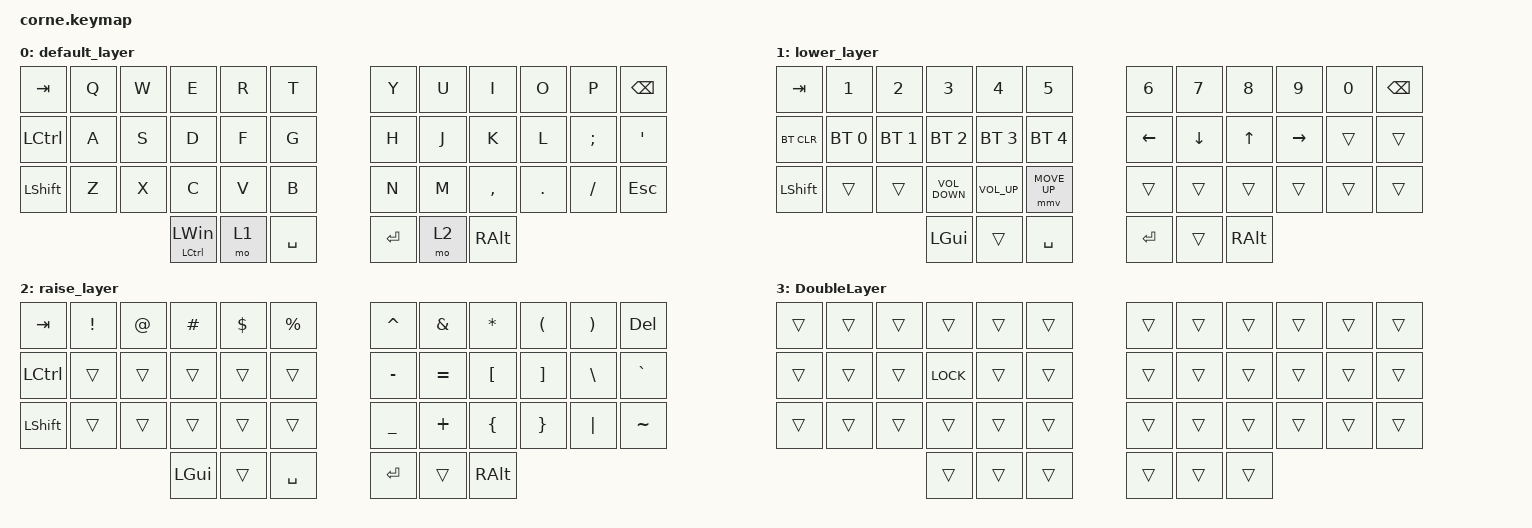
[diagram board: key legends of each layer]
/*
 * Copyright (c) 2020 The ZMK Contributors
 *
 * SPDX-License-Identifier: MIT
 */

#include <behaviors.dtsi>
#include <dt-bindings/zmk/bt.h>
#include <dt-bindings/zmk/keys.h>

/ {
    behaviors {
        cmdToCTRL: cmdToCTRL {
            compatible = "zmk,behavior-hold-tap";
            label = "CMDTOCTRL";
            #binding-cells = <2>;
            hold-trigger-key-positions = <36>;
            bindings = <&kp>, <&kp>;

            tapping-term-ms = <300>;
            flavor = "tap-preferred";
        };
    };

    keymap {
        compatible = "zmk,keymap";

        default_layer {
            // -----------------------------------------------------------------------------------------
            // |  TAB |  Q  |  W  |  E  |  R  |  T  |   |  Y  |  U   |  I  |  O  |  P  | BKSP |
            // | CTRL |  A  |  S  |  D  |  F  |  G  |   |  H  |  J   |  K  |  L  |  ;  |  '   |
            // | SHFT |  Z  |  X  |  C  |  V  |  B  |   |  N  |  M   |  ,  |  .  |  /  | ESC  |
            //                    | GUI | LWR | SPC |   | ENT | RSE  | ALT |

            bindings = <
&kp TAB    &kp Q  &kp W  &kp E                      &kp R  &kp T        &kp Y    &kp U  &kp I      &kp O    &kp P     &kp BSPC
&kp LCTRL  &kp A  &kp S  &kp D                      &kp F  &kp G        &kp H    &kp J  &kp K      &kp L    &kp SEMI  &kp SQT
&kp LSHFT  &kp Z  &kp X  &kp C                      &kp V  &kp B        &kp N    &kp M  &kp COMMA  &kp DOT  &kp FSLH  &kp ESC
                         &cmdToCTRL LCTRL LEFT_WIN  &mo 1  &kp SPACE    &kp RET  &mo 2  &kp RALT
            >;
        };

        lower_layer {
            // -----------------------------------------------------------------------------------------
            // |  TAB |  1  |  2  |  3  |  4  |  5  |   |  6  |  7  |  8  |  9  |  0  | BKSP |
            // | BTCLR| BT1 | BT2 | BT3 | BT4 | BT5 |   | LFT | DWN |  UP | RGT |     |      |
            // | SHFT |     |     |     |     |     |   |     |     |     |     |     |      |
            //                    | GUI |     | SPC |   | ENT |     | ALT |

            bindings = <
&kp TAB     &kp N1        &kp N2        &kp N3             &kp N4           &kp N5          &kp N6    &kp N7    &kp N8    &kp N9     &kp N0  &kp BSPC
&bt BT_CLR  &bt BT_SEL 0  &bt BT_SEL 1  &bt BT_SEL 2       &bt BT_SEL 3     &bt BT_SEL 4    &kp LEFT  &kp DOWN  &kp UP    &kp RIGHT  &trans  &trans
&kp LSHFT   &trans        &trans        &kp C_VOLUME_DOWN  &kp C_VOLUME_UP  &mmv MOVE_UP    &trans    &trans    &trans    &trans     &trans  &trans
                                        &kp LGUI           &trans           &kp SPACE       &kp RET   &trans    &kp RALT
            >;
        };

        raise_layer {
            // -----------------------------------------------------------------------------------------
            // |  TAB |  !  |  @  |  #  |  $  |  %  |   |  ^  |  &  |  *  |  (  |  )  | BKSP |
            // | CTRL |     |     |     |     |     |   |  -  |  =  |  [  |  ]  |  \  |  `   |
            // | SHFT |     |     |     |     |     |   |  _  |  +  |  {  |  }  | "|" |  ~   |
            //                    | GUI |     | SPC |   | ENT |     | ALT |

            bindings = <
&kp TAB    &kp EXCL  &kp AT  &kp HASH  &kp DLLR  &kp PRCNT    &kp CARET  &kp AMPS   &kp ASTRK  &kp LPAR  &kp RPAR  &kp DEL
&kp LCTRL  &trans    &trans  &trans    &trans    &trans       &kp MINUS  &kp EQUAL  &kp LBKT   &kp RBKT  &kp BSLH  &kp GRAVE
&kp LSHFT  &trans    &trans  &trans    &trans    &trans       &kp UNDER  &kp PLUS   &kp LBRC   &kp RBRC  &kp PIPE  &kp TILDE
                             &kp LGUI  &trans    &kp SPACE    &kp RET    &trans     &kp RALT
            >;
        };

        DoubleLayer {
            bindings = <
&trans  &trans  &trans  &trans      &trans  &trans    &trans  &trans  &trans  &trans  &trans  &trans
&trans  &trans  &trans  &kp K_LOCK  &trans  &trans    &trans  &trans  &trans  &trans  &trans  &trans
&trans  &trans  &trans  &trans      &trans  &trans    &trans  &trans  &trans  &trans  &trans  &trans
                        &trans      &trans  &trans    &trans  &trans  &trans
            >;
        };
    };

    conditional_layers {
        compatible = "zmk,conditional-layers";

        DoubleLayer {
            if-layers = <1 2>;
            then-layer = <3>;
        };
    };
};
